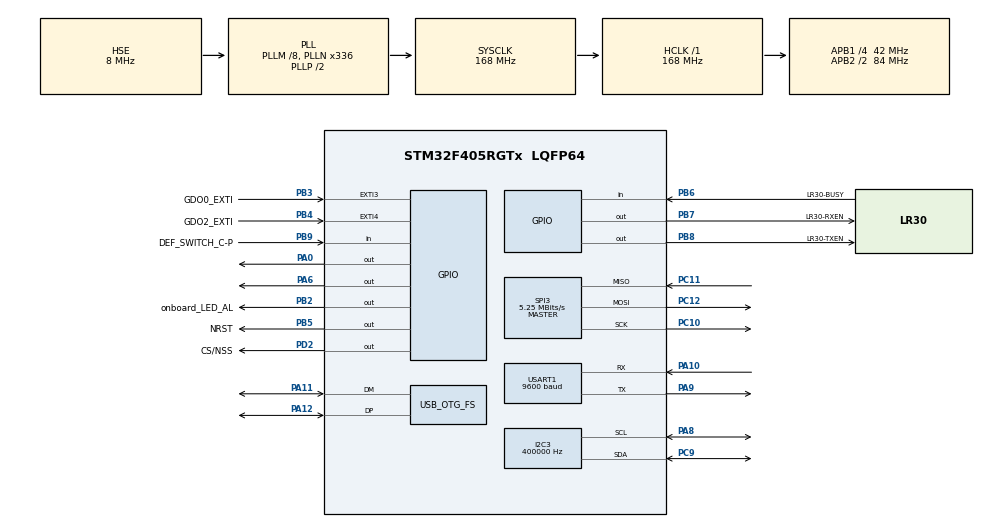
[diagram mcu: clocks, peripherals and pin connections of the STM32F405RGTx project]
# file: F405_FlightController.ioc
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Dma.I2C3_RX.3.Direction=DMA_PERIPH_TO_MEMORY
Dma.I2C3_RX.3.FIFOMode=DMA_FIFOMODE_DISABLE
Dma.I2C3_RX.3.Instance=DMA1_Stream2
Dma.I2C3_RX.3.MemDataAlignment=DMA_MDATAALIGN_BYTE
Dma.I2C3_RX.3.MemInc=DMA_MINC_ENABLE
Dma.I2C3_RX.3.Mode=DMA_NORMAL
Dma.I2C3_RX.3.PeriphDataAlignment=DMA_PDATAALIGN_BYTE
Dma.I2C3_RX.3.PeriphInc=DMA_PINC_DISABLE
Dma.I2C3_RX.3.Priority=DMA_PRIORITY_LOW
Dma.I2C3_TX.4.Direction=DMA_MEMORY_TO_PERIPH
Dma.I2C3_TX.4.FIFOMode=DMA_FIFOMODE_DISABLE
Dma.I2C3_TX.4.Instance=DMA1_Stream4
Dma.I2C3_TX.4.MemDataAlignment=DMA_MDATAALIGN_BYTE
Dma.I2C3_TX.4.MemInc=DMA_MINC_ENABLE
Dma.I2C3_TX.4.Mode=DMA_NORMAL
Dma.I2C3_TX.4.PeriphDataAlignment=DMA_PDATAALIGN_BYTE
Dma.I2C3_TX.4.PeriphInc=DMA_PINC_DISABLE
Dma.I2C3_TX.4.Priority=DMA_PRIORITY_LOW
Dma.Request0=SPI3_TX
Dma.Request1=SPI3_RX
Dma.Request2=USART1_RX
Dma.Request3=I2C3_RX
Dma.Request4=I2C3_TX
Dma.SPI3_RX.1.Direction=DMA_PERIPH_TO_MEMORY
Dma.SPI3_RX.1.FIFOMode=DMA_FIFOMODE_DISABLE
Dma.SPI3_RX.1.Instance=DMA1_Stream0
Dma.SPI3_RX.1.MemDataAlignment=DMA_MDATAALIGN_BYTE
Dma.SPI3_RX.1.MemInc=DMA_MINC_ENABLE
Dma.SPI3_RX.1.Mode=DMA_NORMAL
Dma.SPI3_RX.1.PeriphDataAlignment=DMA_PDATAALIGN_BYTE
Dma.SPI3_RX.1.PeriphInc=DMA_PINC_DISABLE
Dma.SPI3_RX.1.Priority=DMA_PRIORITY_VERY_HIGH
Dma.SPI3_TX.0.Direction=DMA_MEMORY_TO_PERIPH
Dma.SPI3_TX.0.FIFOMode=DMA_FIFOMODE_DISABLE
Dma.SPI3_TX.0.Instance=DMA1_Stream5
Dma.SPI3_TX.0.MemDataAlignment=DMA_MDATAALIGN_BYTE
Dma.SPI3_TX.0.MemInc=DMA_MINC_ENABLE
Dma.SPI3_TX.0.Mode=DMA_NORMAL
Dma.SPI3_TX.0.PeriphDataAlignment=DMA_PDATAALIGN_BYTE
Dma.SPI3_TX.0.PeriphInc=DMA_PINC_DISABLE
Dma.SPI3_TX.0.Priority=DMA_PRIORITY_HIGH
Dma.USART1_RX.2.Direction=DMA_PERIPH_TO_MEMORY
Dma.USART1_RX.2.FIFOMode=DMA_FIFOMODE_DISABLE
Dma.USART1_RX.2.Instance=DMA2_Stream2
Dma.USART1_RX.2.MemDataAlignment=DMA_MDATAALIGN_BYTE
Dma.USART1_RX.2.MemInc=DMA_MINC_ENABLE
Dma.USART1_RX.2.Mode=DMA_CIRCULAR
Dma.USART1_RX.2.PeriphDataAlignment=DMA_PDATAALIGN_BYTE
Dma.USART1_RX.2.PeriphInc=DMA_PINC_DISABLE
Dma.USART1_RX.2.Priority=DMA_PRIORITY_MEDIUM
I2C3.ClockSpeed=400000
I2C3.I2C_Mode=I2C_Fast
Mcu.Family=STM32F4
Mcu.Name=STM32F405RGTx
Mcu.Package=LQFP64
NVIC.DMA1_Stream0_IRQn=true\:0\:0\:false\:false\:true\:false\:true\:true
NVIC.DMA1_Stream2_IRQn=true\:0\:0\:false\:false\:true\:false\:true\:true
NVIC.DMA1_Stream4_IRQn=true\:0\:0\:false\:false\:true\:false\:true\:true
NVIC.DMA1_Stream5_IRQn=true\:0\:0\:false\:false\:true\:false\:true\:true
NVIC.DMA2_Stream2_IRQn=true\:0\:0\:false\:false\:true\:false\:true\:true
NVIC.EXTI3_IRQn=true\:3\:0\:true\:false\:true\:true\:true\:true
NVIC.EXTI4_IRQn=true\:3\:0\:true\:false\:true\:true\:true\:true
NVIC.I2C3_ER_IRQn=true\:0\:0\:false\:false\:true\:true\:true\:true
NVIC.I2C3_EV_IRQn=true\:0\:0\:false\:false\:true\:true\:true\:true
NVIC.OTG_FS_IRQn=true\:1\:0\:true\:false\:true\:false\:true\:true
NVIC.PriorityGroup=NVIC_PRIORITYGROUP_4
NVIC.TIM2_IRQn=true\:0\:0\:false\:false\:true\:true\:true\:true
NVIC.TIM3_IRQn=true\:0\:0\:false\:false\:true\:true\:true\:true
NVIC.TIM4_IRQn=true\:0\:0\:false\:false\:true\:true\:true\:true
NVIC.USART1_IRQn=true\:0\:0\:false\:false\:true\:true\:true\:true
PA0-WKUP.GPIO_Speed=GPIO_SPEED_FREQ_VERY_HIGH
PA0-WKUP.Signal=GPIO_Output
PA10.Mode=Asynchronous
PA10.Signal=USART1_RX
PA11.GPIO_PuPd=GPIO_PULLUP
PA11.Mode=Device_Only
PA11.Signal=USB_OTG_FS_DM
PA12.GPIO_PuPd=GPIO_PULLUP
PA12.Mode=Device_Only
PA12.Signal=USB_OTG_FS_DP
PA6.GPIO_Speed=GPIO_SPEED_FREQ_VERY_HIGH
PA6.Signal=GPIO_Output
PA8.Mode=I2C
PA8.Signal=I2C3_SCL
PA9.Mode=Asynchronous
PA9.Signal=USART1_TX
PB2.GPIO_Label=onboard_LED_AL
PB2.GPIO_Speed=GPIO_SPEED_FREQ_HIGH
PB2.PinState=GPIO_PIN_RESET
PB2.Signal=GPIO_Output
PB3.GPIO_Label=GDO0_EXTI
PB3.GPIO_ModeDefaultEXTI=GPIO_MODE_IT_RISING
PB3.Signal=GPXTI3
PB4.GPIO_Label=GDO2_EXTI
PB4.GPIO_ModeDefaultEXTI=GPIO_MODE_IT_RISING
PB4.Signal=GPXTI4
PB5.GPIO_Label=NRST
PB5.GPIO_Speed=GPIO_SPEED_FREQ_HIGH
PB5.PinState=GPIO_PIN_SET
PB5.Signal=GPIO_Output
PB6.GPIO_Label=LR30-BUSY
PB6.Signal=GPIO_Input
PB7.GPIO_Label=LR30-RXEN
PB7.GPIO_Speed=GPIO_SPEED_FREQ_HIGH
PB7.Signal=GPIO_Output
PB8.GPIO_Label=LR30-TXEN
PB8.GPIO_Speed=GPIO_SPEED_FREQ_HIGH
PB8.Signal=GPIO_Output
PB9.GPIO_Label=DEF_SWITCH_C-P
PB9.Signal=GPIO_Input
PC10.Mode=Full_Duplex_Master
PC10.Signal=SPI3_SCK
PC11.Mode=Full_Duplex_Master
PC11.Signal=SPI3_MISO
PC12.Mode=Full_Duplex_Master
PC12.Signal=SPI3_MOSI
PC9.Mode=I2C
PC9.Signal=I2C3_SDA
PD2.GPIO_Label=CS/NSS
PD2.GPIO_Speed=GPIO_SPEED_FREQ_HIGH
PD2.PinState=GPIO_PIN_SET
PD2.Signal=GPIO_Output
PH0-OSC_IN.Mode=HSE-External-Oscillator
PH0-OSC_IN.Signal=RCC_OSC_IN
PH1-OSC_OUT.Mode=HSE-External-Oscillator
PH1-OSC_OUT.Signal=RCC_OSC_OUT
ProjectManager.HeapSize=0x1000
ProjectManager.StackSize=0x800
ProjectManager.TargetToolchain=CMake
RCC.48MHZClocksFreq_Value=48000000
RCC.AHBFreq_Value=168000000
RCC.APB1CLKDivider=RCC_HCLK_DIV4
RCC.APB1Freq_Value=42000000
RCC.APB1TimFreq_Value=84000000
RCC.APB2CLKDivider=RCC_HCLK_DIV2
RCC.APB2Freq_Value=84000000
RCC.APB2TimFreq_Value=168000000
RCC.CortexFreq_Value=168000000
RCC.HCLKFreq_Value=168000000
RCC.HSE_VALUE=8000000
RCC.HSI_VALUE=16000000
RCC.LSE_VALUE=32768
RCC.PLLM=8
RCC.PLLN=336
RCC.PLLQ=7
RCC.SYSCLKFreq_VALUE=168000000
RCC.SYSCLKSource=RCC_SYSCLKSOURCE_PLLCLK
RCC.VCOOutputFreq_Value=336000000
SPI3.BaudRatePrescaler=SPI_BAUDRATEPRESCALER_8
SPI3.CalculateBaudRate=5.25 MBits/s
SPI3.Direction=SPI_DIRECTION_2LINES
SPI3.Mode=SPI_MODE_MASTER
SPI3.VirtualType=VM_MASTER
TIM2.AutoReloadPreload=TIM_AUTORELOAD_PRELOAD_ENABLE
TIM2.Channel-Output\ Compare1\ No\ Output=TIM_CHANNEL_1
TIM2.OCMode_1=TIM_OCMODE_TOGGLE
TIM2.Period=10
TIM2.Prescaler=42000-1
TIM3.AutoReloadPreload=TIM_AUTORELOAD_PRELOAD_ENABLE
TIM3.Channel-Output\ Compare1\ No\ Output=TIM_CHANNEL_1
TIM3.OCMode_1=TIM_OCMODE_TOGGLE
TIM3.Period=20
TIM3.Prescaler=42000-1
TIM4.AutoReloadPreload=TIM_AUTORELOAD_PRELOAD_ENABLE
TIM4.Channel-Output\ Compare1\ No\ Output=TIM_CHANNEL_1
TIM4.Period=2000
TIM4.Prescaler=42000-1
USART1.BaudRate=9600
USART1.VirtualMode=VM_ASYNC
USB_DEVICE.CLASS_NAME_FS=CDC
USB_DEVICE.PRODUCT_STRING_CDC_FS=STM32F405RGT6 Flight Controller
USB_DEVICE.VirtualMode-CDC_FS=Cdc
USB_DEVICE.VirtualModeFS=Cdc_FS
USB_OTG_FS.VirtualMode=Device_Only
VP_TIM2_VS_ClockSourceINT.Mode=Internal
VP_TIM2_VS_no_output1.Mode=Output Compare1 No Output
VP_TIM3_VS_ClockSourceINT.Mode=Internal
VP_TIM3_VS_no_output1.Mode=Output Compare1 No Output
VP_TIM4_VS_ClockSourceINT.Mode=Internal
VP_TIM4_VS_no_output1.Mode=Output Compare1 No Output
VP_USB_DEVICE_VS_USB_DEVICE_CDC_FS.Mode=CDC_FS
board=custom

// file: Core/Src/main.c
/* USER CODE BEGIN Header */
/**
 ******************************************************************************
 * @file           : main.c
 * @brief          : Main program body
 ******************************************************************************
 * @attention
 *
 * Copyright (c) 2026 STMicroelectronics.
 * All rights reserved.
 *
 * This software is licensed under terms that can be found in the LICENSE file
 * in the root directory of this software component.
 * If no LICENSE file comes with this software, it is provided AS-IS.
 *
 ******************************************************************************
 */
/* USER CODE END Header */
#include "main.h"
#include "dma.h"
#include "i2c.h"
#include "spi.h"
#include "tim.h"
#include "usart.h"
#include "usb_device.h"
#include "gpio.h"

/* USER CODE BEGIN Includes */
#include "LCD/ssd1315.h"
#include "LCD/menu_helper.h"
#include "Drivers/gy6500.h"
#include "Drivers/gy273.h"
#include "Drivers/pca9685.h"
#include "Drivers/cc1101.h"
#include "Drivers/i2c_helper.h"
#include "Drivers/DX-LR30_Driver/sx126x.h"
#include "Drivers/DX-LR30_Driver/driver_DIO1.h"
#include "Drivers/DX-LR30_Driver/UserConfig.h"
#include "Drivers/gy_gps6mv2.h"

/* USER CODE END Includes */

/* USER CODE BEGIN PV */
AppContext_t g_app = {
		.is_controller    = is_controller,
		.is_plane         = is_plane,
		.imu_data         = {0},
		.imu_calib        = {0},
		.mag_data         = {0},
		.mag_calib        = {
				.x_offset      = 6492.0f,
				.y_offset      = -6346.0f,
				.z_offset      = 16268.0f,
				.is_calibrated = 1
		},
		.orientation      = {0},
		.heading_2d       = 0.0f,
		.heading_3d       = 0.0f,
		.compass_heading  = 0.0f,
		.delta_time_ms    = 0,
		.gui_data         = {0},
		.flag_gyro_update = false,
		.flag_transmit    = false,
		.packet_received  = false,
		.flag_waiting_ack = false
};
/* USER CODE END PV */

void SystemClock_Config(void);

/* USER CODE BEGIN 0 */
bool is_controller(void)
{
	return HAL_GPIO_ReadPin(DEF_SWITCH_C_P_GPIO_Port, DEF_SWITCH_C_P_Pin) == GPIO_PIN_SET;
}

bool is_plane(void)
{
	return !is_controller();
}

void init_all(void)
{
	SSD1315_Init(&hi2c3);
	Menu_Init(&hi2c3, &g_app.gui_data, &g_app.imu_data, &g_app.orientation);
	GY6500_Init(&hi2c3);
	GY273_Init(&hi2c3);
	GY6500_Calibrate(&hi2c3, &g_app.imu_calib, 50);
	//PCA9685_Init(&hi2c3, 50.0f);

	HAL_TIM_Base_Start_IT(&htim2);
	if (g_app.is_controller()) {
		HAL_TIM_Base_Start_IT(&htim3); //transmit
	}

	//CC1101_InitDevice(&g_app.cc1101, &hspi3);
	DX_LR30_Init();
	GPS_Init(&g_app.gps, &huart1);
}
/* USER CODE END 0 */

int main(void)
{

  /* MCU Configuration--------------------------------------------------------*/

  /* Reset of all peripherals, Initializes the Flash interface and the Systick. */
  HAL_Init();

  /* Configure the system clock */
  SystemClock_Config();

  /* Initialize all configured peripherals */
  MX_GPIO_Init();
  MX_DMA_Init();
  MX_I2C3_Init();
  MX_USB_DEVICE_Init();
  MX_TIM2_Init();
  MX_SPI3_Init();
  MX_TIM3_Init();
  MX_TIM4_Init();
  MX_USART1_UART_Init();
  /* USER CODE BEGIN 2 */
	init_all();
	//SetTxHz(869.4f);
	MX_USB_DEVICE_Init();
  /* USER CODE END 2 */

  /* Infinite loop */
  /* USER CODE BEGIN WHILE */

	IrqFired = false;
	radioFlag = 0x00;
	display_off = 0;
	while (1)
	{
    /* USER CODE END WHILE */

    /* USER CODE BEGIN 3 */
		Gyro_update_data();
		gps_update_dma();
		Radio_process();
	}
  /* USER CODE END 3 */
}

void SystemClock_Config(void)
{
  RCC_OscInitTypeDef RCC_OscInitStruct = {0};
  RCC_ClkInitTypeDef RCC_ClkInitStruct = {0};

  /** Configure the main internal regulator output voltage
  */
  __HAL_RCC_PWR_CLK_ENABLE();
  __HAL_PWR_VOLTAGESCALING_CONFIG(PWR_REGULATOR_VOLTAGE_SCALE1);

  /** Initializes the RCC Oscillators according to the specified parameters
  * in the RCC_OscInitTypeDef structure.
  */
  RCC_OscInitStruct.OscillatorType = RCC_OSCILLATORTYPE_HSE;
  RCC_OscInitStruct.HSEState = RCC_HSE_ON;
  RCC_OscInitStruct.PLL.PLLState = RCC_PLL_ON;
  RCC_OscInitStruct.PLL.PLLSource = RCC_PLLSOURCE_HSE;
  RCC_OscInitStruct.PLL.PLLM = 8;
  RCC_OscInitStruct.PLL.PLLN = 336;
  RCC_OscInitStruct.PLL.PLLP = RCC_PLLP_DIV2;
  RCC_OscInitStruct.PLL.PLLQ = 7;
  if (HAL_RCC_OscConfig(&RCC_OscInitStruct) != HAL_OK)
  {
    Error_Handler();
  }

  /** Initializes the CPU, AHB and APB buses clocks
  */
  RCC_ClkInitStruct.ClockType = RCC_CLOCKTYPE_HCLK|RCC_CLOCKTYPE_SYSCLK
                              |RCC_CLOCKTYPE_PCLK1|RCC_CLOCKTYPE_PCLK2;
  RCC_ClkInitStruct.SYSCLKSource = RCC_SYSCLKSOURCE_PLLCLK;
  RCC_ClkInitStruct.AHBCLKDivider = RCC_SYSCLK_DIV1;
  RCC_ClkInitStruct.APB1CLKDivider = RCC_HCLK_DIV4;
  RCC_ClkInitStruct.APB2CLKDivider = RCC_HCLK_DIV2;

  if (HAL_RCC_ClockConfig(&RCC_ClkInitStruct, FLASH_LATENCY_5) != HAL_OK)
  {
    Error_Handler();
  }
}

/* USER CODE BEGIN 4 */
void HAL_TIM_PeriodElapsedCallback(TIM_HandleTypeDef *htim)
{
	if (htim->Instance == TIM2)
	{
		g_app.flag_gyro_update = true;
		HAL_GPIO_TogglePin(GPIOA, GPIO_PIN_0);
	}
	else if (htim->Instance == TIM3)
	{
		g_app.flag_transmit = true;
		HAL_GPIO_TogglePin(GPIOA, GPIO_PIN_6);
	}
	else if (htim->Instance == TIM4)
	{
		menu_data.flag_reset_transmit = 1;
	}
}

void HAL_GPIO_EXTI_Callback(uint16_t GPIO_Pin)
{
	/* Check if the interrupt came from the CC1101 GDO0 pin */
	if (g_app.cc1101.initok && GPIO_Pin == g_app.cc1101.gdo0_pin) {
		// This function will automatically trigger the DMA RX if in CC1101_STATE_RX
		CC1101_Interrupt_Handler(&g_app.cc1101);
	}
	else if (GPIO_Pin == LORA_DIO1_PIN)
	{
		IrqFired = true;
	}
}

/**
 * @brief Tx Transfer completed callback.
 * @param  hspi pointer to a SPI_HandleTypeDef structure that contains
 *               the configuration information for SPI module.
 * @retval None
 */
void HAL_SPI_TxCpltCallback(SPI_HandleTypeDef *hspi)
{
	/* Check if this is the SPI instance connected to the CC1101 */
	if (g_app.cc1101.hspi != NULL && hspi->Instance == g_app.cc1101.hspi->Instance) {
		// Pulls CS high, triggers STX strobe
		CC1101_DMA_Complete_Callback(&g_app.cc1101);
	}
}

/**
 * @brief Tx and Rx Transfer completed callback.
 * @param  hspi pointer to a SPI_HandleTypeDef structure that contains
 *               the configuration information for SPI module.
 * @retval None
 */
void HAL_SPI_TxRxCpltCallback(SPI_HandleTypeDef *hspi)
{
	/* Check if this is the SPI instance connected to the CC1101 */
	if (g_app.cc1101.hspi != NULL && hspi->Instance == g_app.cc1101.hspi->Instance) {
		// Pulls CS high, extracts RSSI/LQI, puts module back into RX
		CC1101_DMA_Complete_Callback(&g_app.cc1101);

		// Notify the main loop that a packet is ready in the rx_fifo
		if (g_app.cc1101.state == CC1101_STATE_RX) {
			g_app.packet_received = true;
		}
	}
}

/**
 * @brief SPI error callback.
 * @param  hspi pointer to a SPI_HandleTypeDef structure
 * @retval None
 */
void HAL_SPI_ErrorCallback(SPI_HandleTypeDef *hspi)
{
	if (g_app.cc1101.hspi != NULL && hspi->Instance == g_app.cc1101.hspi->Instance) {
		// Handle DMA/SPI errors (e.g., reset CS pin, clear busy flag)
		HAL_GPIO_WritePin(g_app.cc1101.cs_port, g_app.cc1101.cs_pin, GPIO_PIN_SET);
		g_app.cc1101.dma_busy = false;

		// Re-initialize or reset state to ensure system recovers
		CC1101_SetRX(&g_app.cc1101);
	}
}
/* USER CODE END 4 */

void Error_Handler(void)
{
	__disable_irq();
	while (1)
	{
	}
}
